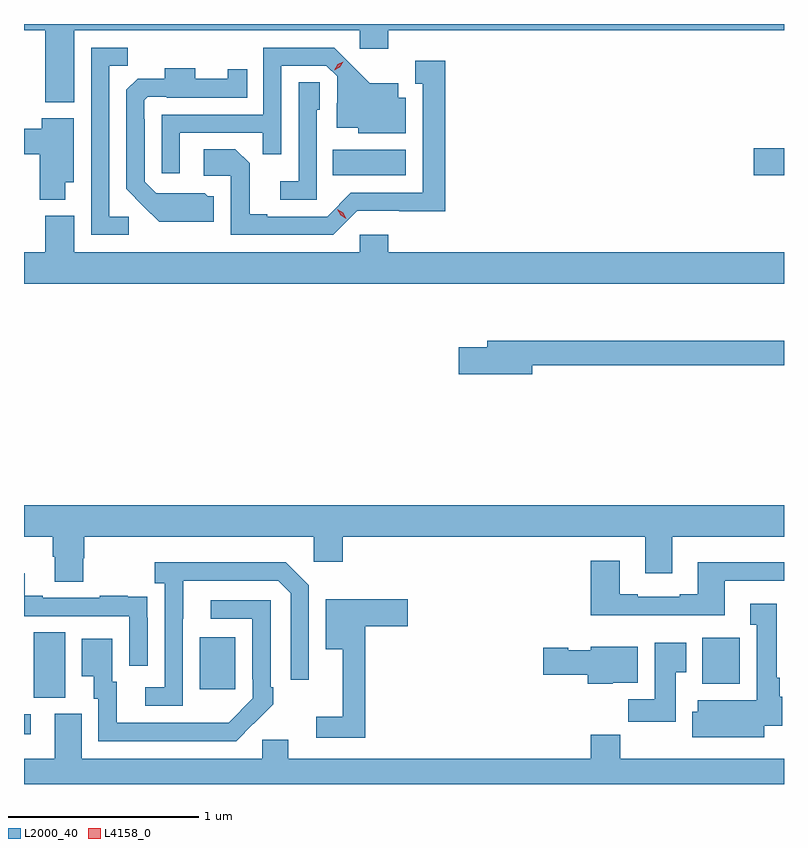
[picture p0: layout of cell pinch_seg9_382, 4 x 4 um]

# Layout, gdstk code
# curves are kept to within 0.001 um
import gdstk
lib = gdstk.Library(unit=1e-6, precision=1e-09)
def R(c, l, rs):  # rectangles x0, y0, x1, y1
    for r in rs: c.add(gdstk.rectangle(r[:2], r[2:], *l))
def P(c, l, *ps):  # polygons
    for p in ps: c.add(gdstk.Polygon(p, *l))
L2000_40 = (2000, 40)
L4158_0 = (4158, 0)

pinch_seg9_382 = lib.new_cell('pinch_seg9_382')
R(pinch_seg9_382, L2000_40, [(333.766,1235.34,333.802,1235.445), (333.818,1235.533,333.982,1235.876), (334.691,1235.577,334.879,1235.851), (337.337,1235.606,337.534,1235.848), (337.608,1238.281,337.766,1238.423), (335.392,1238.282,335.776,1238.416)])
P(pinch_seg9_382, L2000_40, [(334.03,1239.044),(335.532,1239.044),(335.532,1238.949),(335.684,1238.949),(335.684,1239.044),(337.766,1239.044),(337.766,1239.078),(333.766,1239.078),(333.766,1239.044),(333.878,1239.044),(333.878,1238.666),(334.03,1238.666)],
  [(334.587,1238.505),(335.023,1238.505),(335.023,1238.392),(335.121,1238.392),(335.121,1238.859),(335.358,1238.859),(335.415,1238.802),(335.415,1238.66),(335.411,1238.66),(335.411,1238.531),(335.526,1238.531),(335.526,1238.504),(335.776,1238.504),(335.776,1238.689),(335.737,1238.689),(335.737,1238.767),(335.585,1238.767),(335.398,1238.952),(335.025,1238.952),(335.025,1238.601),(334.491,1238.601),(334.491,1238.292),(334.587,1238.292)],
  [(334.318,1238.064),(334.215,1238.064),(334.215,1238.857),(334.311,1238.857),(334.311,1238.952),(334.119,1238.952),(334.119,1237.968),(334.318,1237.968)],
  [(335.52,1238.094),(335.983,1238.093),(335.983,1238.884),(335.825,1238.884),(335.825,1238.763),(335.864,1238.763),(335.864,1238.19),(335.487,1238.19),(335.361,1238.064),(335.047,1238.064),(335.047,1238.077),(334.953,1238.077),(334.953,1238.344),(334.877,1238.42),(334.713,1238.42),(334.713,1238.28),(334.854,1238.28),(334.854,1237.968),(335.394,1237.968)],
  [(334.765,1238.172),(334.734,1238.172),(334.718,1238.188),(334.461,1238.187),(334.401,1238.247),(334.401,1238.576),(334.398,1238.576),(334.398,1238.676),(334.416,1238.694),(334.516,1238.694),(334.516,1238.691),(334.94,1238.691),(334.94,1238.839),(334.839,1238.839),(334.839,1238.79),(334.666,1238.79),(334.666,1238.845),(334.508,1238.845),(334.508,1238.791),(334.364,1238.791),(334.305,1238.732),(334.305,1238.21),(334.477,1238.036),(334.765,1238.036)],
  [(335.307,1238.628),(335.322,1238.628),(335.322,1238.771),(335.211,1238.771),(335.211,1238.251),(335.115,1238.251),(335.115,1238.154),(335.307,1238.154)],
  [(333.982,1238.246),(334.027,1238.246),(334.027,1238.581),(333.86,1238.581),(333.86,1238.528),(333.766,1238.528),(333.766,1238.392),(333.848,1238.392),(333.848,1238.153),(333.982,1238.153)],
  [(337.766,1237.876),(335.684,1237.876),(335.684,1237.969),(335.532,1237.969),(335.532,1237.876),(334.03,1237.876),(334.03,1238.068),(333.878,1238.068),(333.878,1237.876),(333.766,1237.876),(333.766,1237.712),(337.766,1237.712)],
  [(336.442,1237.282),(337.766,1237.282),(337.766,1237.411),(336.203,1237.411),(336.203,1237.377),(336.054,1237.377),(336.054,1237.235),(336.442,1237.235)],
  [(334.077,1236.267),(334.082,1236.267),(334.082,1236.38),(335.292,1236.38),(335.292,1236.249),(335.444,1236.249),(335.444,1236.38),(337.037,1236.38),(337.037,1236.186),(337.177,1236.186),(337.177,1236.38),(337.766,1236.38),(337.766,1236.544),(333.766,1236.544),(333.766,1236.38),(333.917,1236.38),(333.917,1236.274),(333.929,1236.274),(333.929,1236.142),(334.077,1236.142)],
  [(337.453,1236.147),(337.766,1236.147),(337.766,1236.244),(337.313,1236.244),(337.313,1236.076),(337.217,1236.076),(337.217,1236.063),(336.997,1236.063),(336.997,1236.076),(336.901,1236.076),(336.901,1236.253),(336.749,1236.253),(336.749,1235.966),(337.453,1235.966)],
  [(334.602,1235.947),(334.603,1236.147),(335.103,1236.147),(335.169,1236.081),(335.169,1235.628),(335.265,1235.628),(335.265,1236.123),(335.144,1236.244),(334.455,1236.244),(334.455,1236.134),(334.506,1236.134),(334.506,1235.586),(334.404,1235.586),(334.404,1235.49),(334.602,1235.49)],
  [(334.416,1235.954),(334.415,1235.954),(334.415,1236.063),(334.313,1236.063),(334.313,1236.07),(334.165,1236.07),(334.165,1236.057),(333.865,1236.057),(333.865,1236.07),(333.769,1236.07),(333.769,1236.187),(333.766,1236.187),(333.766,1235.961),(334.32,1235.961),(334.32,1235.7),(334.416,1235.7)],
  [(335.561,1235.909),(335.785,1235.909),(335.785,1236.051),(335.354,1236.051),(335.354,1235.786),(335.444,1235.786),(335.444,1235.431),(335.304,1235.431),(335.304,1235.322),(335.561,1235.322)],
  [(334.973,1235.395),(334.974,1235.394),(335.079,1235.499),(335.079,1235.587),(335.064,1235.587),(335.064,1236.045),(334.749,1236.045),(334.749,1235.949),(334.968,1235.949),(334.968,1235.629),(334.971,1235.629),(334.971,1235.529),(334.843,1235.401),(334.255,1235.4),(334.255,1235.616),(334.231,1235.616),(334.231,1235.842),(334.07,1235.842),(334.07,1235.645),(334.133,1235.645),(334.133,1235.526),(334.158,1235.526),(334.158,1235.304),(334.882,1235.304)],
  [(337.663,1235.384),(337.756,1235.384),(337.756,1235.538),(337.744,1235.538),(337.744,1235.638),(337.729,1235.638),(337.729,1236.028),(337.589,1236.028),(337.589,1235.915),(337.622,1235.915),(337.622,1235.518),(337.313,1235.518),(337.313,1235.459),(337.283,1235.459),(337.283,1235.324),(337.663,1235.324)],
  [(337.195,1235.665),(337.252,1235.665),(337.252,1235.821),(337.085,1235.821),(337.085,1235.524),(336.946,1235.524),(336.946,1235.406),(337.195,1235.406)],
  [(336.864,1235.612),(336.997,1235.612),(336.997,1235.8),(336.75,1235.8),(336.75,1235.782),(336.63,1235.782),(336.63,1235.795),(336.498,1235.795),(336.498,1235.653),(336.734,1235.653),(336.734,1235.606),(336.864,1235.606)],
  [(337.766,1235.212),(336.905,1235.212),(336.905,1235.336),(336.749,1235.336),(336.749,1235.212),(335.158,1235.212),(335.158,1235.31),(335.019,1235.31),(335.019,1235.212),(334.069,1235.212),(334.069,1235.448),(333.929,1235.448),(333.929,1235.212),(333.766,1235.212),(333.766,1235.078),(337.766,1235.078)])
P(pinch_seg9_382, L4158_0, [(335.463,1238.052),(335.432,1238.071),(335.414,1238.104),(335.414,1238.104),(335.415,1238.104),(335.446,1238.085),(335.463,1238.052),(335.463,1238.052)],
  [(335.398,1238.835),(335.398,1238.835),(335.416,1238.865),(335.446,1238.88),(335.447,1238.88),(335.447,1238.88),(335.429,1238.85),(335.399,1238.835)])

lib.write_gds('pinch_seg9_382.gds')
